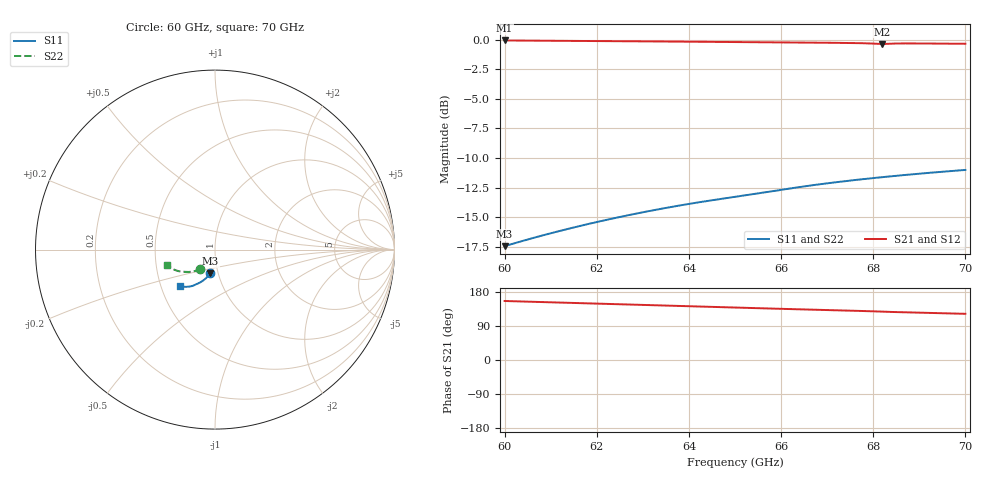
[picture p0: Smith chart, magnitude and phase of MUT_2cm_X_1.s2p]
! TOUCHSTONE file generated by CST MICROWAVE STUDIO
! Date and time: Tue Feb 27 21:04:18 2024
! Project name: material_angular.cst
! Parameters = {exis2=1; exis=5; X=5; Z=5; Y=2}
! Header version: 2018
! Port assignment regex: !\s*Touchstone port\s*([0-9]+)\s*=\s*(CST MWS port|CST DS port)\s*([0-9]+|Zmin|Zmax)\s*\(\"(.*)\"\)(\s*mode\s*([0-9]+))?.*
! Touchstone port assignment:
! Touchstone port 1 = CST MWS port 1 ("")
! Touchstone port 2 = CST MWS port 2 ("")
# GHz S MA R 376.7
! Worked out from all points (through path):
!   1001 points, 60 GHz to 70 GHz, reference 376.7 ohm
!   highest |S21| = -0.08 dB at 60 GHz (marker M1); lowest = -0.4 dB at 68.19 GHz (marker M2)
!   group delay of S21, straight-line fit = 9.43 ps
!   lowest |S11| = -17.4 dB at 60 GHz (marker M3), VSWR 1.31, Z = 345 - j92.6 ohm
!   |S11| at or under -10 dB: start of sweep to end of sweep
!   |S22| runs from -17.4 to -11.0 dB; largest |S21 - S12| = 0.0094
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60  0.1344 -101.5  0.991 155.7  0.9909 155.7  0.1344 -127.0
60.88  0.1502 -104.4  0.9886 152.6  0.9887 152.6  0.1502 -130.2
61.67  0.1642 -107.0  0.9864 149.9  0.9866 149.9  0.1643 -133.2
62.52  0.1788 -109.8  0.9839 146.9  0.9842 146.9  0.179 -136.5
63.34  0.1923 -112.6  0.9814 144.1  0.9817 144.1  0.1923 -139.7
64.13  0.2046 -115.3  0.9789 141.4  0.9792 141.3  0.204 -142.5
65  0.2169 -117.9  0.9761 138.4  0.9762 138.3  0.2169 -145.3
65.87  0.2301 -120.3  0.9732 135.5  0.9731 135.4  0.2307 -148.2
66.67  0.2427 -122.8  0.9704 132.8  0.9697 132.7  0.2428 -151.1
67.11  0.249 -124.3  0.9687 131.4  0.9675 131.3  0.249 -152.7
67.38  0.2526 -125.2  0.9675 130.5  0.9669 130.5  0.2526 -153.7
67.6  0.2555 -126.0  0.9663 129.8  0.9677 129.8  0.2555 -154.5
67.84  0.2585 -126.7  0.964 129.1  0.9678 129.0  0.2585 -155.4
67.97  0.2601 -127.2  0.9617 128.7  0.9674 128.5  0.2601 -155.8
68.07  0.2613 -127.5  0.9591 128.3  0.967 128.2  0.2613 -156.2
68.19  0.2627 -127.9  0.9573 127.7  0.9666 127.7  0.2628 -156.6
68.26  0.2635 -128.1  0.9581 127.3  0.9663 127.5  0.2636 -156.9
68.34  0.2644 -128.3  0.9598 127.0  0.966 127.2  0.2645 -157.1
68.51  0.2664 -128.9  0.9622 126.4  0.9653 126.7  0.2665 -157.7
68.78  0.2694 -129.7  0.9629 125.6  0.9642 125.8  0.2695 -158.7
69.49  0.2768 -131.9  0.9612 123.5  0.9614 123.5  0.2769 -161.1
70  0.2818 -133.4  0.9595 121.9  0.9594 121.9  0.2818 -162.9
